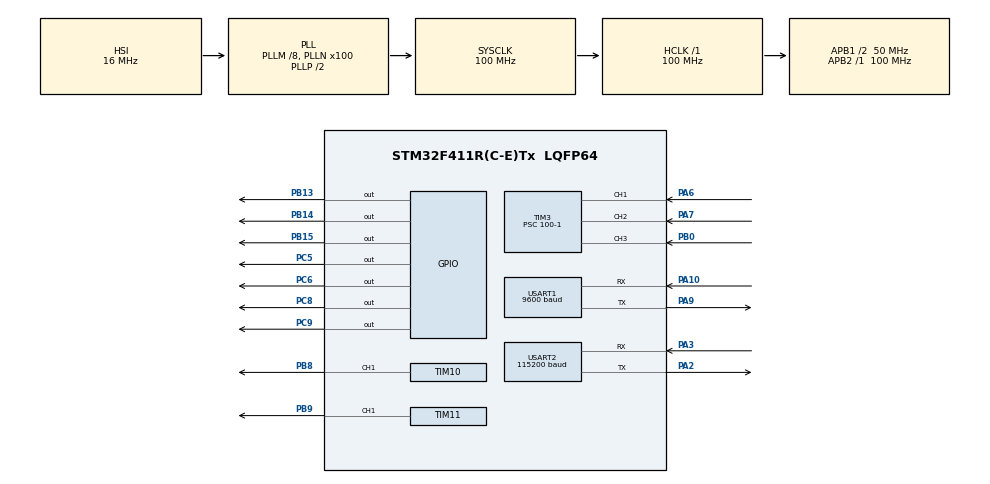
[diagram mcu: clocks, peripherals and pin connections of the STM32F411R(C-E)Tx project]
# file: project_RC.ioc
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Mcu.Family=STM32F4
Mcu.Name=STM32F411R(C-E)Tx
Mcu.Package=LQFP64
NVIC.PriorityGroup=NVIC_PRIORITYGROUP_4
NVIC.RCC_IRQn=true\:0\:0\:false\:false\:true\:true\:false\:true
NVIC.TIM3_IRQn=true\:0\:0\:false\:false\:true\:true\:true\:true
NVIC.USART1_IRQn=true\:0\:0\:false\:false\:true\:true\:true\:true
NVIC.USART2_IRQn=true\:0\:0\:false\:false\:true\:true\:true\:true
PA10.Mode=Asynchronous
PA10.Signal=USART1_RX
PA13.Mode=Serial_Wire
PA13.Signal=SYS_JTMS-SWDIO
PA14.Mode=Serial_Wire
PA14.Signal=SYS_JTCK-SWCLK
PA2.Mode=Asynchronous
PA2.Signal=USART2_TX
PA3.Mode=Asynchronous
PA3.Signal=USART2_RX
PA6.Signal=S_TIM3_CH1
PA7.Signal=S_TIM3_CH2
PA9.Mode=Asynchronous
PA9.Signal=USART1_TX
PB0.Signal=S_TIM3_CH3
PB13.Signal=GPIO_Output
PB14.Signal=GPIO_Output
PB15.Signal=GPIO_Output
PB8.Signal=S_TIM10_CH1
PB9.Signal=S_TIM11_CH1
PC5.Signal=GPIO_Output
PC6.Signal=GPIO_Output
PC8.Signal=GPIO_Output
PC9.Signal=GPIO_Output
PH0\ -\ OSC_IN.Mode=HSE-External-Clock-Source
PH0\ -\ OSC_IN.Signal=RCC_OSC_IN
PH1\ -\ OSC_OUT.Mode=HSE-External-Clock-Source
PH1\ -\ OSC_OUT.Signal=RCC_OSC_OUT
ProjectManager.HeapSize=0x200
ProjectManager.StackSize=0x400
ProjectManager.TargetToolchain=STM32CubeIDE
RCC.48MHZClocksFreq_Value=50000000
RCC.AHBFreq_Value=100000000
RCC.APB1CLKDivider=RCC_HCLK_DIV2
RCC.APB1Freq_Value=50000000
RCC.APB1TimFreq_Value=100000000
RCC.APB2Freq_Value=100000000
RCC.APB2TimFreq_Value=100000000
RCC.CortexFreq_Value=100000000
RCC.HCLKFreq_Value=100000000
RCC.HSE_VALUE=8000000
RCC.HSI_VALUE=16000000
RCC.LSE_VALUE=32768
RCC.PLLM=8
RCC.PLLN=100
RCC.SYSCLKFreq_VALUE=100000000
RCC.SYSCLKSource=RCC_SYSCLKSOURCE_PLLCLK
RCC.VCOOutputFreq_Value=200000000
SH.S_TIM10_CH1.0=TIM10_CH1,PWM Generation1 CH1
SH.S_TIM11_CH1.0=TIM11_CH1,PWM Generation1 CH1
SH.S_TIM3_CH1.0=TIM3_CH1,Input_Capture1_from_TI1
SH.S_TIM3_CH2.0=TIM3_CH2,Input_Capture2_from_TI2
SH.S_TIM3_CH3.0=TIM3_CH3,Input_Capture3_from_TI3
TIM10.Channel=TIM_CHANNEL_1
TIM10.Period=1000-1
TIM10.Prescaler=100-1
TIM11.Channel=TIM_CHANNEL_1
TIM11.Period=1000-1
TIM11.Prescaler=100-1
TIM3.Channel-Input_Capture1_from_TI1=TIM_CHANNEL_1
TIM3.Channel-Input_Capture2_from_TI2=TIM_CHANNEL_2
TIM3.Channel-Input_Capture3_from_TI3=TIM_CHANNEL_3
TIM3.Prescaler=100-1
USART1.BaudRate=9600
USART1.VirtualMode=VM_ASYNC
USART2.BaudRate=115200
USART2.VirtualMode=VM_ASYNC
VP_TIM10_VS_ClockSourceINT.Mode=Enable_Timer
VP_TIM11_VS_ClockSourceINT.Mode=Enable_Timer
VP_TIM3_VS_ClockSourceINT.Mode=Internal
board=custom

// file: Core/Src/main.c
/* USER CODE BEGIN Header */
/**
 ******************************************************************************
 * @file           : main.c
 * @brief          : Main program body
 ******************************************************************************
 * @attention
 *
 * Copyright (c) 2026 STMicroelectronics.
 * All rights reserved.
 *
 * This software is licensed under terms that can be found in the LICENSE file
 * in the root directory of this software component.
 * If no LICENSE file comes with this software, it is provided AS-IS.
 *
 ******************************************************************************
 */
/* USER CODE END Header */
#include "main.h"
#include "tim.h"
#include "usart.h"
#include "gpio.h"

/* USER CODE BEGIN Includes */

#include "motor.h"
#include "bluetooth.h"
#include "ultrasonic.h"
#include "stdio.h"

/* USER CODE END Includes */

/* USER CODE BEGIN PD */

#define DANGER_DIST     13
#define RECOVER_DIST    25
#define BASE_SPEED      300
#define TURN_SPEED      300
#define BACK_SPEED      200
#define FWD_SPEED       BASE_SPEED
#define ACTION_TIME     300     // 0.3초

typedef enum {
  STATE_FORWARD = 0,
  STATE_BACKWARD,
  STATE_TURN_LEFT,
  STATE_TURN_RIGHT
} CarState;

CarState currentState = STATE_FORWARD;

uint32_t stateStartTime = 0;

/* USER CODE END PD */

/* USER CODE BEGIN PM */

#ifdef __GNUC__
/* With GCC small printf (option LD Linker->Libraries->Small printf
 * set to 'Yes') calls __io_putchar() */
#define PUTCHAR_PROTOTYPE int  __io_putchar(int ch)
#else
#define PUTCHAR_PROTOTYPE int  fputc(int ch, FILE *f)
#endif /* __GNUC__*/

/** @brief Retargets the C library printf function to the USART.
 *  @param None
 *  @retval None
 */
PUTCHAR_PROTOTYPE
{
  /* Place your implementation of fputc here */
  /* e.g. write a character to the USART2 and Loop
     until the end of transmission */
  if(ch == '\n')
    HAL_UART_Transmit(&huart2, (uint8_t*) "\r", 1, 0xFFFF);
  HAL_UART_Transmit(&huart2, (uint8_t*) &ch, 1, 0xFFFF);
}

/* USER CODE END PM */

/* USER CODE BEGIN PV */

uint8_t rxData;

uint16_t Front_Value1 = 0;       // Echo Pin Rising Check
uint16_t Front_Value2 = 0;       // Echo Pin Falling Check
uint16_t Right_Value1 = 0;
uint16_t Right_Value2 = 0;
uint16_t Left_Value1 = 0;
uint16_t Left_Value2 = 0;

uint16_t Front_echoTime = 0;
uint16_t Left_echoTime  = 0;
uint16_t Right_echoTime = 0;

uint16_t Front_captureFlag = 0;
uint16_t Left_captureFlag  = 0;
uint16_t Right_captureFlag = 0;

uint16_t Front_flag = 0;
uint16_t Left_flag  = 0;
uint16_t Right_flag = 0;

volatile uint16_t Front_distance = 0;
volatile uint16_t Left_distance  = 0;
volatile uint16_t Right_distance = 0;

uint8_t Drive_mode = 0;    // 0 = 수동주행, 1 = 자율주행

uint32_t baseTime = 0;

/* USER CODE END PV */

void SystemClock_Config(void);
/* USER CODE BEGIN PFP */

void HAL_TIM_IC_CaptureCallback(TIM_HandleTypeDef *htim)
{
  if(htim->Instance == TIM3)
  {
    // ================= FRONT (CH1) =================
    if(htim->Channel == HAL_TIM_ACTIVE_CHANNEL_1)
    {
      if(Front_captureFlag == 0)
      {
        Front_Value1 = HAL_TIM_ReadCapturedValue(htim, TIM_CHANNEL_1);
        Front_captureFlag = 1;
        __HAL_TIM_SET_CAPTUREPOLARITY(htim, TIM_CHANNEL_1, TIM_INPUTCHANNELPOLARITY_FALLING);
      }
      else
      {
        Front_Value2 = HAL_TIM_ReadCapturedValue(htim, TIM_CHANNEL_1);

        if(Front_Value2 > Front_Value1)
          Front_echoTime = Front_Value2 - Front_Value1;
        else
          Front_echoTime = (0xFFFF - Front_Value1) + Front_Value2;

        Front_distance = Front_echoTime / 58;

        Front_captureFlag = 0;
        __HAL_TIM_SET_CAPTUREPOLARITY(htim, TIM_CHANNEL_1, TIM_INPUTCHANNELPOLARITY_RISING);
      }
    }

    // ================= LEFT (CH2) =================
    if(htim->Channel == HAL_TIM_ACTIVE_CHANNEL_2)
    {
      if(Left_captureFlag == 0)
      {
        Left_Value1 = HAL_TIM_ReadCapturedValue(htim, TIM_CHANNEL_2);
        Left_captureFlag = 1;
        __HAL_TIM_SET_CAPTUREPOLARITY(htim, TIM_CHANNEL_2, TIM_INPUTCHANNELPOLARITY_FALLING);
      }
      else
      {
        Left_Value2 = HAL_TIM_ReadCapturedValue(htim, TIM_CHANNEL_2);

        if(Left_Value2 > Left_Value1)
          Left_echoTime = Left_Value2 - Left_Value1;
        else
          Left_echoTime = (0xFFFF - Left_Value1) + Left_Value2;

        Left_distance = Left_echoTime / 58;

        Left_captureFlag = 0;
        __HAL_TIM_SET_CAPTUREPOLARITY(htim, TIM_CHANNEL_2, TIM_INPUTCHANNELPOLARITY_RISING);
      }
    }

    // ================= RIGHT (CH3) =================
    if(htim->Channel == HAL_TIM_ACTIVE_CHANNEL_3)
    {
      if(Right_captureFlag == 0)
      {
        Right_Value1 = HAL_TIM_ReadCapturedValue(htim, TIM_CHANNEL_3);
        Right_captureFlag = 1;
        __HAL_TIM_SET_CAPTUREPOLARITY(htim, TIM_CHANNEL_3, TIM_INPUTCHANNELPOLARITY_FALLING);
      }
      else
      {
        Right_Value2 = HAL_TIM_ReadCapturedValue(htim, TIM_CHANNEL_3);

        if(Right_Value2 > Right_Value1)
          Right_echoTime = Right_Value2 - Right_Value1;
        else
          Right_echoTime = (0xFFFF - Right_Value1) + Right_Value2;

        Right_distance = Right_echoTime / 58;

        Right_captureFlag = 0;
        __HAL_TIM_SET_CAPTUREPOLARITY(htim, TIM_CHANNEL_3, TIM_INPUTCHANNELPOLARITY_RISING);
      }
    }
  }
}

/* USER CODE END PFP */

int main(void)
{

  /* MCU Configuration--------------------------------------------------------*/

  /* Reset of all peripherals, Initializes the Flash interface and the Systick. */
  HAL_Init();

  /* Configure the system clock */
  SystemClock_Config();

  /* Initialize all configured peripherals */
  MX_GPIO_Init();
  MX_TIM11_Init();
  MX_TIM10_Init();
  MX_USART2_UART_Init();
  MX_USART1_UART_Init();
  MX_TIM3_Init();
  /* USER CODE BEGIN 2 */

  HAL_TIM_PWM_Start(&htim10, TIM_CHANNEL_1);
  HAL_TIM_PWM_Start(&htim11, TIM_CHANNEL_1);

  HAL_TIM_IC_Start_IT(&htim3, TIM_CHANNEL_1);   // Front
  HAL_TIM_IC_Start_IT(&htim3, TIM_CHANNEL_2);   // Left
  HAL_TIM_IC_Start_IT(&htim3, TIM_CHANNEL_3);   // Right

  Bluetooth_Init();

  /* USER CODE END 2 */

  /* Infinite loop */
  /* USER CODE BEGIN WHILE */
  while (1)
  {
    if (Drive_mode == 1) // 자율주행 모드
    {
      // 1. 센서 트리거링 (순차적으로 측정하여 간섭 방지)
      Front_Trigger();
      HAL_Delay(10);
      Left_Trigger();
      HAL_Delay(10);
      Right_Trigger();
      HAL_Delay(10);

      // 0cm로 읽히는 오류(센서 튐) 방지: 0은 매우 먼 거리나 오류이므로 무시
      uint16_t fd = (Front_distance <= 3) ? 999 : Front_distance;
      uint16_t ld = (Left_distance <= 3) ? 999 : Left_distance;
      uint16_t rd = (Right_distance <= 3) ? 999 : Right_distance;

      switch(currentState)
      {
        case STATE_FORWARD:

          if(fd <= DANGER_DIST)
          {
            currentState = STATE_BACKWARD;
            stateStartTime = HAL_GetTick();
          }
          else if(ld <= DANGER_DIST)
          {
            currentState = STATE_TURN_RIGHT;
            stateStartTime = HAL_GetTick();
          }
          else if(rd <= DANGER_DIST)
          {
            currentState = STATE_TURN_LEFT;
            stateStartTime = HAL_GetTick();
          }
               // 정면과 오른쪽이 모두 안전거리 이상인가?
          else if((fd >= RECOVER_DIST) && (rd > (ld + 15)))
          {
            currentState = STATE_TURN_RIGHT;    //오른쪽이 뚫렸다면 우회전
            stateStartTime = HAL_GetTick();
          }
               // 정면과 왼쪽이 모두 안전거리 이상인가?
          else if((fd >= RECOVER_DIST) && (ld > (rd + 15)))
          {
            currentState = STATE_TURN_LEFT;   // 왼쪽이 뚫렸다면 좌회전
            stateStartTime = HAL_GetTick();
          }
             // 3. 그 외 (모두 뚫려있거나 모두 적당한 거리일 때)
          MotorA_Control(BASE_SPEED, DIR_FORWARD);
          MotorB_Control(BASE_SPEED, DIR_FORWARD);
        break;

        case STATE_BACKWARD:

          MotorA_Control(BACK_SPEED, DIR_BACKWARD);
          MotorB_Control(BACK_SPEED, DIR_BACKWARD);

          if (HAL_GetTick() - stateStartTime >= ACTION_TIME)
          {
            // 후진 시간이 끝났으므로 일단 정지
            MotorA_Control(0, DIR_STOP);
            MotorB_Control(0, DIR_STOP);

            if(fd > RECOVER_DIST)    // 전방이 뚫렸다면 직진
            {
              currentState = STATE_FORWARD;
            }
            else    // 전방이 막혀있다면, 좌우 중 더 넓은 쪽으로 회전
            {
              if (ld > rd)
              {
                currentState = STATE_TURN_LEFT;
              }
              else
              {
                currentState = STATE_TURN_RIGHT;
              }
            }

            // 상태가 바뀌었으므로 시간 기록을 초기화 (회전 시간을 재기 위해)
            stateStartTime = HAL_GetTick();
          }
          break;

        case STATE_TURN_LEFT:

          MotorA_Control(TURN_SPEED, DIR_BACKWARD);
          MotorB_Control(TURN_SPEED, DIR_FORWARD);

          // 전방 회피용은 0.5초만 회전
          if(fd <= DANGER_DIST)
          {
            if(HAL_GetTick() - stateStartTime >= ACTION_TIME)
              currentState = STATE_FORWARD;
          }
          else if(rd >= RECOVER_DIST && fd >= RECOVER_DIST)
          {
            currentState = STATE_FORWARD;
          }
          break;

        case STATE_TURN_RIGHT:

          MotorA_Control(TURN_SPEED, DIR_FORWARD);
          MotorB_Control(TURN_SPEED, DIR_BACKWARD);

          if(fd <= DANGER_DIST)
          {
            if(HAL_GetTick() - stateStartTime >= ACTION_TIME)
              currentState = STATE_FORWARD;
          }
          else if(ld >= RECOVER_DIST && fd >= RECOVER_DIST)
          {
            currentState = STATE_FORWARD;
          }
          break;
      }

      printf("State:%d F:%d L:%d R:%d\r\n",
             currentState, fd, ld, rd);
    }
    else
    {
      HAL_Delay(10);
    }
  }

  /* USER CODE END WHILE */

}

void SystemClock_Config(void)
{
  RCC_OscInitTypeDef RCC_OscInitStruct = {0};
  RCC_ClkInitTypeDef RCC_ClkInitStruct = {0};

  /** Configure the main internal regulator output voltage
   */
  __HAL_RCC_PWR_CLK_ENABLE();
  __HAL_PWR_VOLTAGESCALING_CONFIG(PWR_REGULATOR_VOLTAGE_SCALE1);

  /** Initializes the RCC Oscillators according to the specified parameters
   * in the RCC_OscInitTypeDef structure.
   */
  RCC_OscInitStruct.OscillatorType = RCC_OSCILLATORTYPE_HSI;
  RCC_OscInitStruct.HSIState = RCC_HSI_ON;
  RCC_OscInitStruct.HSICalibrationValue = RCC_HSICALIBRATION_DEFAULT;
  RCC_OscInitStruct.PLL.PLLState = RCC_PLL_ON;
  RCC_OscInitStruct.PLL.PLLSource = RCC_PLLSOURCE_HSI;
  RCC_OscInitStruct.PLL.PLLM = 8;
  RCC_OscInitStruct.PLL.PLLN = 100;
  RCC_OscInitStruct.PLL.PLLP = RCC_PLLP_DIV2;
  RCC_OscInitStruct.PLL.PLLQ = 4;
  if (HAL_RCC_OscConfig(&RCC_OscInitStruct) != HAL_OK)
  {
    Error_Handler();
  }

  /** Initializes the CPU, AHB and APB buses clocks
   */
  RCC_ClkInitStruct.ClockType = RCC_CLOCKTYPE_HCLK|RCC_CLOCKTYPE_SYSCLK
      |RCC_CLOCKTYPE_PCLK1|RCC_CLOCKTYPE_PCLK2;
  RCC_ClkInitStruct.SYSCLKSource = RCC_SYSCLKSOURCE_PLLCLK;
  RCC_ClkInitStruct.AHBCLKDivider = RCC_SYSCLK_DIV1;
  RCC_ClkInitStruct.APB1CLKDivider = RCC_HCLK_DIV2;
  RCC_ClkInitStruct.APB2CLKDivider = RCC_HCLK_DIV1;

  if (HAL_RCC_ClockConfig(&RCC_ClkInitStruct, FLASH_LATENCY_3) != HAL_OK)
  {
    Error_Handler();
  }
}

void Error_Handler(void)
{
  __disable_irq();
  while (1)
  {
  }
}
